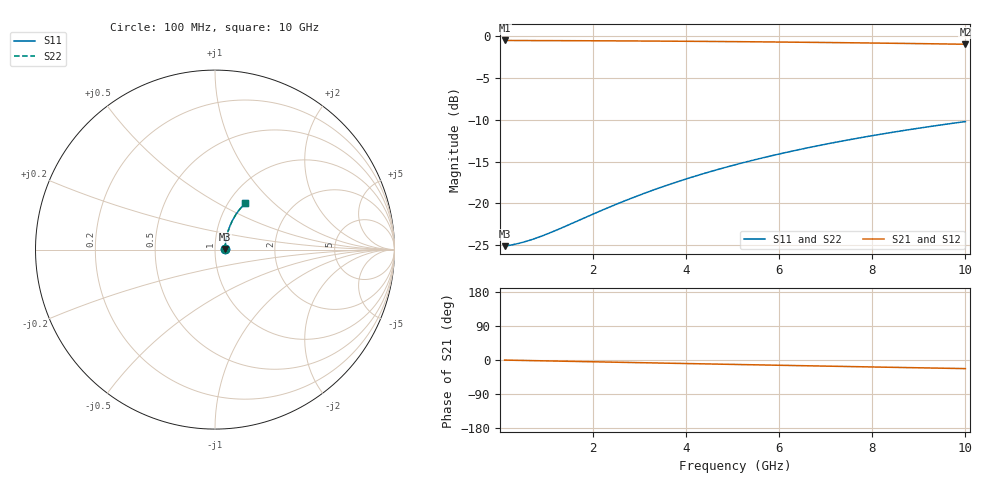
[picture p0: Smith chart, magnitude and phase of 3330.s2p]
# Hz S RI R 50.00
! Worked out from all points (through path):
!   100 points, 100 MHz to 10 GHz, reference 50 ohm
!   highest |S21| = -0.49 dB at 100 MHz (marker M1); lowest = -0.9 dB at 10 GHz (marker M2)
!   group delay of S21, straight-line fit = 6.32 ps
!   lowest |S11| = -25.1 dB at 100 MHz (marker M3), VSWR 1.12, Z = 55.8 + j0.336 ohm
!   |S11| at or under -10 dB: start of sweep to end of sweep
!   |S22| runs from -25.1 to -10.2 dB; largest |S21 - S12| = 0
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1e8  0.0552 0.003  0.9448 -0.00387  0.9448 -0.00387  0.0552 0.003
4e8  0.0562 0.012  0.9438 -0.0155  0.9438 -0.0155  0.0562 0.012
6e8  0.0568 0.0179  0.9432 -0.0232  0.9432 -0.0232  0.0568 0.0179
8e8  0.0574 0.0239  0.9426 -0.0309  0.9426 -0.0309  0.0574 0.0239
1e9  0.058 0.0298  0.9419 -0.0385  0.9419 -0.0385  0.058 0.0298
1.2e9  0.0588 0.0357  0.9412 -0.0462  0.9412 -0.0462  0.0588 0.0357
1.8e9  0.0614 0.0534  0.9385 -0.0691  0.9385 -0.0691  0.0614 0.0534
2.2e9  0.0636 0.0651  0.9362 -0.0843  0.9362 -0.0843  0.0636 0.0651
2.6e9  0.0661 0.0767  0.9336 -0.0994  0.9336 -0.0994  0.0661 0.0767
3e9  0.0689 0.0882  0.9307 -0.1144  0.9307 -0.1144  0.0689 0.0882
3.4e9  0.0722 0.0995  0.9274 -0.1292  0.9274 -0.1292  0.0722 0.0995
3.8e9  0.0757 0.1107  0.9237 -0.144  0.9237 -0.144  0.0757 0.1107
4.2e9  0.0796 0.1218  0.9197 -0.1585  0.9197 -0.1585  0.0796 0.1218
4.6e9  0.0838 0.1327  0.9153 -0.173  0.9153 -0.173  0.0838 0.1327
5.1e9  0.0896 0.1461  0.9093 -0.1907  0.9093 -0.1907  0.0896 0.1461
5.5e9  0.0945 0.1566  0.9042 -0.2047  0.9042 -0.2047  0.0945 0.1566
5.9e9  0.0998 0.1668  0.8988 -0.2185  0.8988 -0.2185  0.0998 0.1668
6.7e9  0.1112 0.1868  0.887 -0.2455  0.887 -0.2455  0.1112 0.1868
7.5e9  0.1237 0.2057  0.874 -0.2715  0.874 -0.2715  0.1237 0.2057
8.4e9  0.139 0.2259  0.8582 -0.2996  0.8582 -0.2996  0.139 0.2259
9.2e9  0.1535 0.2427  0.8431 -0.3235  0.8431 -0.3235  0.1535 0.2427
1e10  0.1689 0.2583  0.8271 -0.3463  0.8271 -0.3463  0.1689 0.2583
